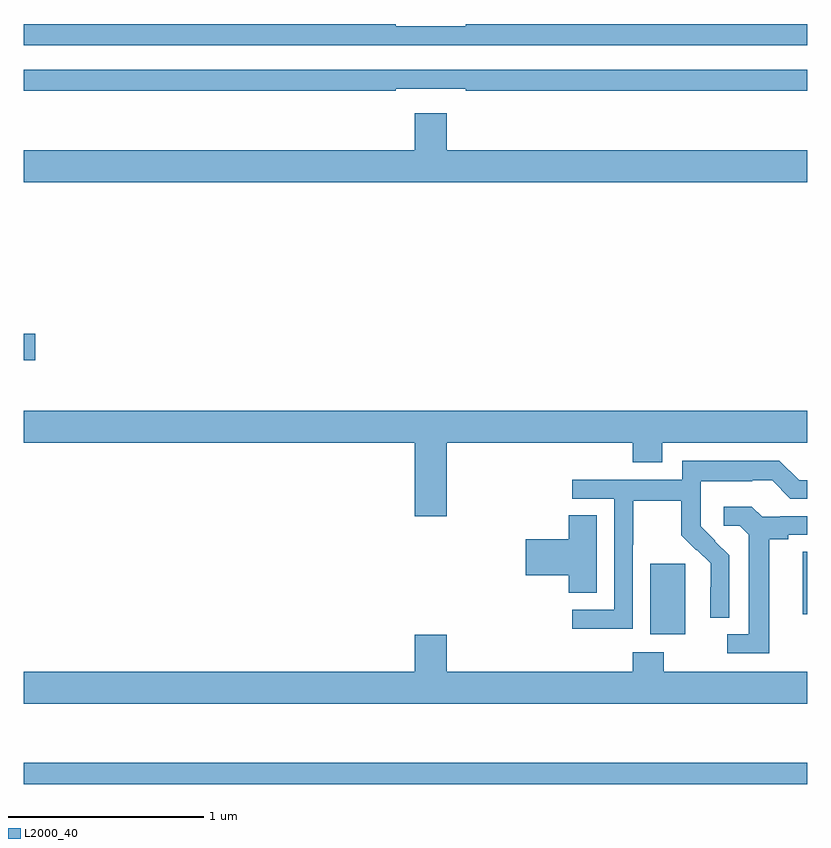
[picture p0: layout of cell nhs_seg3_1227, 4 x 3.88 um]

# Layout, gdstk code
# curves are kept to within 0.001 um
import gdstk
lib = gdstk.Library(unit=1e-6, precision=1e-09)
def R(c, l, rs):  # rectangles x0, y0, x1, y1
    for r in rs: c.add(gdstk.rectangle(r[:2], r[2:], *l))
def P(c, l, *ps):  # polygons
    for p in ps: c.add(gdstk.Polygon(p, *l))
L2000_40 = (2000, 40)

nhs_seg3_1227 = lib.new_cell('nhs_seg3_1227')
R(nhs_seg3_1227, L2000_40, [(175,688.518,179,688.627), (178.199,689.282,178.378,689.643), (178.979,689.385,179,689.705), (175,690.683,175.057,690.818)])
P(nhs_seg3_1227, L2000_40, [(179,692.4),(177.256,692.4),(177.256,692.389),(176.9,692.389),(176.9,692.4),(175,692.4),(175,692.292),(179,692.292)],
  [(176.9,692.07),(177.256,692.07),(177.256,692.058),(179,692.058),(179,692.166),(175,692.166),(175,692.058),(176.9,692.058)],
  [(179,691.756),(177.16,691.756),(177.16,691.945),(176.996,691.945),(176.996,691.756),(175,691.756),(175,691.592),(179,691.592)],
  [(177.16,690.26),(178.109,690.26),(178.109,690.161),(178.261,690.161),(178.261,690.26),(179,690.26),(179,690.424),(175,690.424),(175,690.26),(176.996,690.26),(176.996,689.886),(177.16,689.886)],
  [(178.11,689.74),(178.113,689.74),(178.113,689.964),(178.357,689.964),(178.357,689.789),(178.434,689.712),(178.437,689.715),(178.508,689.645),(178.508,689.522),(178.506,689.522),(178.506,689.368),(178.602,689.368),(178.602,689.686),(178.456,689.834),(178.456,689.931),(178.458,689.931),(178.458,690.065),(178.721,690.065),(178.721,690.069),(178.821,690.069),(178.914,689.976),(179,689.976),(179,690.069),(178.959,690.069),(178.859,690.169),(178.362,690.169),(178.362,690.072),(177.801,690.072),(177.801,689.976),(178.014,689.976),(178.014,689.409),(177.801,689.409),(177.801,689.311),(178.11,689.311)],
  [(178.807,689.768),(178.903,689.768),(178.903,689.79),(179,689.79),(179,689.886),(178.864,689.886),(178.864,689.883),(178.77,689.883),(178.718,689.935),(178.575,689.935),(178.575,689.838),(178.656,689.838),(178.703,689.791),(178.703,689.283),(178.593,689.283),(178.593,689.187),(178.807,689.187)],
  [(177.925,689.891),(177.782,689.891),(177.782,689.768),(177.564,689.768),(177.564,689.585),(177.782,689.585),(177.782,689.494),(177.925,689.494)],
  [(179,689.092),(178.269,689.092),(178.269,689.191),(178.109,689.191),(178.109,689.092),(177.16,689.092),(177.16,689.281),(176.996,689.281),(176.996,689.092),(175,689.092),(175,688.928),(179,688.928)])

lib.write_gds('nhs_seg3_1227.gds')
